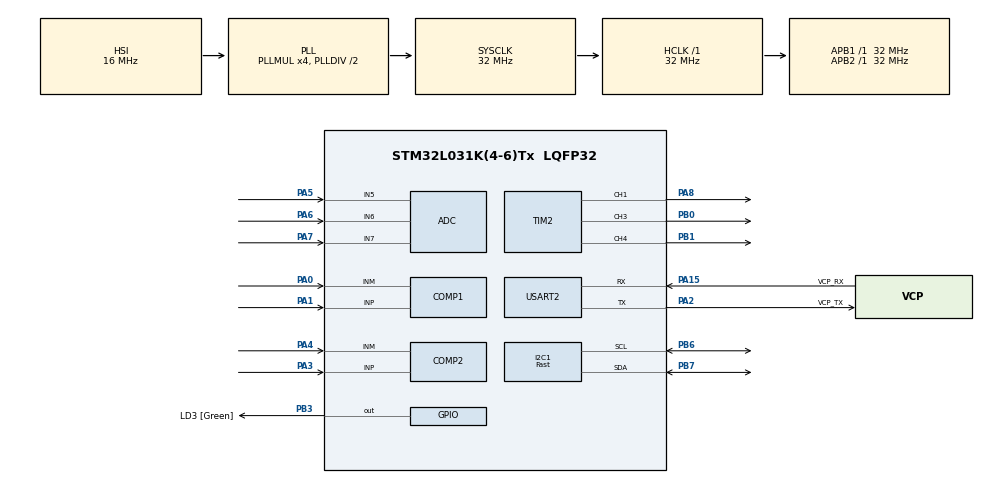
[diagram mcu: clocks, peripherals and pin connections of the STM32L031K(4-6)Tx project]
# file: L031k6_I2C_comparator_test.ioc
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ADC.ExternalTrigConv=ADC_EXTERNALTRIGCONV_T2_TRGO
Dma.ADC.0.Direction=DMA_PERIPH_TO_MEMORY
Dma.ADC.0.Instance=DMA1_Channel1
Dma.ADC.0.MemDataAlignment=DMA_MDATAALIGN_HALFWORD
Dma.ADC.0.MemInc=DMA_MINC_ENABLE
Dma.ADC.0.Mode=DMA_NORMAL
Dma.ADC.0.PeriphDataAlignment=DMA_PDATAALIGN_HALFWORD
Dma.ADC.0.PeriphInc=DMA_PINC_DISABLE
Dma.ADC.0.Priority=DMA_PRIORITY_LOW
Dma.Request0=ADC
I2C1.I2C_Speed_Mode=I2C_Fast
I2C1.Timing=0x00300F38
Mcu.Family=STM32L0
Mcu.Name=STM32L031K(4-6)Tx
Mcu.Package=LQFP32
NVIC.DMA1_Channel1_IRQn=true\:0\:0\:false\:false\:true\:false\:true
PA0-CK_IN.Mode=INM
PA0-CK_IN.Signal=COMP1_INM
PA1.Mode=INP
PA1.Signal=COMP1_INP
PA13.GPIO_Label=TMS
PA13.Mode=Serial_Wire
PA13.Signal=SYS_SWDIO
PA14.GPIO_Label=TCK
PA14.Mode=Serial_Wire
PA14.Signal=SYS_SWCLK
PA15.GPIO_Label=VCP_RX
PA15.Mode=Asynchronous
PA15.Signal=USART2_RX
PA2.GPIO_Label=VCP_TX
PA2.Mode=Asynchronous
PA2.Signal=USART2_TX
PA3.Mode=INP
PA3.Signal=COMP2_INP
PA4.Mode=INM
PA4.Signal=COMP2_INM
PA5.Mode=IN5
PA5.Signal=ADC_IN5
PA6.Mode=IN6
PA6.Signal=ADC_IN6
PA7.Mode=IN7
PA7.Signal=ADC_IN7
PA8.Signal=S_TIM2_CH1
PB0.Signal=S_TIM2_CH3
PB1.Signal=S_TIM2_CH4
PB3.GPIO_Label=LD3 [Green]
PB3.Signal=GPIO_Output
PB6.Mode=I2C
PB6.Signal=I2C1_SCL
PB7.Mode=I2C
PB7.Signal=I2C1_SDA
PC14-OSC32_IN.Mode=LSE-External-Oscillator
PC14-OSC32_IN.Signal=RCC_OSC32_IN
PC15-OSC32_OUT.Mode=LSE-External-Oscillator
PC15-OSC32_OUT.Signal=RCC_OSC32_OUT
ProjectManager.HeapSize=0x200
ProjectManager.StackSize=0x400
ProjectManager.TargetToolchain=SW4STM32
RCC.AHBFreq_Value=32000000
RCC.APB1Freq_Value=32000000
RCC.APB1TimFreq_Value=32000000
RCC.APB2Freq_Value=32000000
RCC.APB2TimFreq_Value=32000000
RCC.HCLKFreq_Value=32000000
RCC.HSE_VALUE=8000000
RCC.HSI16_VALUE=16000000
RCC.HSI48_VALUE=48000000
RCC.HSI_VALUE=16000000
RCC.MSI_VALUE=2097000
RCC.PLLMUL=RCC_PLLMUL_4
RCC.SYSCLKFreq_VALUE=32000000
RCC.SYSCLKSource=RCC_SYSCLKSOURCE_PLLCLK
RCC.VCOOutputFreq_Value=64000000
SH.S_TIM2_CH1.0=TIM2_CH1,PWM Generation1 CH1
SH.S_TIM2_CH3.0=TIM2_CH3,PWM Generation3 CH3
SH.S_TIM2_CH4.0=TIM2_CH4,PWM Generation4 CH4
TIM2.Channel-PWM\ Generation1\ CH1=TIM_CHANNEL_1
TIM2.Channel-PWM\ Generation3\ CH3=TIM_CHANNEL_3
TIM2.Channel-PWM\ Generation4\ CH4=TIM_CHANNEL_4
TIM2.OCFastMode_PWM-PWM\ Generation3\ CH3=TIM_OCFAST_DISABLE
TIM2.OCMode_PWM-PWM\ Generation1\ CH1=TIM_OCMODE_PWM2
TIM2.TIM_MasterOutputTrigger=TIM_TRGO_RESET
USART2.VirtualMode-Asynchronous=VM_ASYNC
board=NUCLEO-L031K6

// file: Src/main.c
/* USER CODE BEGIN Header */
/**
  ******************************************************************************
  * @file           : main.c
  * @brief          : Main program body
  ******************************************************************************
  * @attention
  *
  * <h2><center>&copy; Copyright (c) 2019 STMicroelectronics.
  * All rights reserved.</center></h2>
  *
  * This software component is licensed by ST under BSD 3-Clause license,
  * the "License"; You may not use this file except in compliance with the
  * License. You may obtain a copy of the License at:
  *                        opensource.org/licenses/BSD-3-Clause
  *
  ******************************************************************************
  */
/* USER CODE END Header */

#include "main.h"

/* USER CODE BEGIN Includes */
//#include "mcp3424.h"
/* USER CODE END Includes */

ADC_HandleTypeDef hadc;
DMA_HandleTypeDef hdma_adc;

COMP_HandleTypeDef hcomp1;
COMP_HandleTypeDef hcomp2;

I2C_HandleTypeDef hi2c1;

TIM_HandleTypeDef htim2;

UART_HandleTypeDef huart2;

void SystemClock_Config(void);
static void MX_GPIO_Init(void);
static void MX_DMA_Init(void);
static void MX_ADC_Init(void);
static void MX_COMP1_Init(void);
static void MX_COMP2_Init(void);
static void MX_I2C1_Init(void);
static void MX_TIM2_Init(void);
static void MX_USART2_UART_Init(void);

/* USER CODE BEGIN 0 */
uint16_t MC9808add = 0x0018;
uint8_t MCdatasend = 0;
uint8_t MCdatarec[2] = {0};
int errorState;
int temp;
float ftemp;

/* USER CODE END 0 */

int main(void)
{

  /* MCU Configuration--------------------------------------------------------*/

  /* Reset of all peripherals, Initializes the Flash interface and the Systick. */
  HAL_Init();

  /* Configure the system clock */
  SystemClock_Config();

  /* Initialize all configured peripherals */
  MX_GPIO_Init();
  MX_DMA_Init();
  MX_ADC_Init();
  MX_COMP1_Init();
  MX_COMP2_Init();
  MX_I2C1_Init();
  MX_TIM2_Init();
  MX_USART2_UART_Init();

  /* Infinite loop */
  /* USER CODE BEGIN WHILE */
  while (1)
  {
	  HAL_UART_Transmit(&huart2,"Hello World\r",12, 10);

	  	  //////////////////Read the MCP9808 tempterature
	  	  if(HAL_I2C_IsDeviceReady(&hi2c1,(MC9808add<<1),1,10)==HAL_OK){
	  	                  HAL_UART_Transmit(&huart2,"MC9808 Ready\r",13, 10);
	  	  }

	  	  char lol[32];
	  	  MCdatasend = 0b00000101;

	  	  HAL_I2C_Mem_Read(&hi2c1,(MC9808add<<1),MCdatasend,1,MCdatarec,2,10);

	  	  temp = ((MCdatarec[1]|(MCdatarec[0]<<8)));
	  	  temp &= 0b0000011111111111;
	  	  ftemp=(float)temp;
	  	  ftemp = ftemp/16;
	  	  temp = temp/16;
	  	  sprintf(lol, "Temp is: %f \r", ftemp);
	  	  HAL_UART_Transmit(&huart2, (uint8_t*)lol, strlen(lol),5);
	  	   	   	  //////////////////Read the MCP3424 voltage
MCP3424(&hi2c1,&huart2);

	  	  HAL_Delay(500);
    /* USER CODE END WHILE */

  }
}

void SystemClock_Config(void)
{
  RCC_OscInitTypeDef RCC_OscInitStruct = {0};
  RCC_ClkInitTypeDef RCC_ClkInitStruct = {0};
  RCC_PeriphCLKInitTypeDef PeriphClkInit = {0};

  /** Configure the main internal regulator output voltage
  */
  __HAL_PWR_VOLTAGESCALING_CONFIG(PWR_REGULATOR_VOLTAGE_SCALE1);
  /** Initializes the CPU, AHB and APB busses clocks
  */
  RCC_OscInitStruct.OscillatorType = RCC_OSCILLATORTYPE_HSI;
  RCC_OscInitStruct.HSIState = RCC_HSI_ON;
  RCC_OscInitStruct.HSICalibrationValue = RCC_HSICALIBRATION_DEFAULT;
  RCC_OscInitStruct.PLL.PLLState = RCC_PLL_ON;
  RCC_OscInitStruct.PLL.PLLSource = RCC_PLLSOURCE_HSI;
  RCC_OscInitStruct.PLL.PLLMUL = RCC_PLLMUL_4;
  RCC_OscInitStruct.PLL.PLLDIV = RCC_PLLDIV_2;
  if (HAL_RCC_OscConfig(&RCC_OscInitStruct) != HAL_OK)
  {
    Error_Handler();
  }
  /** Initializes the CPU, AHB and APB busses clocks
  */
  RCC_ClkInitStruct.ClockType = RCC_CLOCKTYPE_HCLK|RCC_CLOCKTYPE_SYSCLK
                              |RCC_CLOCKTYPE_PCLK1|RCC_CLOCKTYPE_PCLK2;
  RCC_ClkInitStruct.SYSCLKSource = RCC_SYSCLKSOURCE_PLLCLK;
  RCC_ClkInitStruct.AHBCLKDivider = RCC_SYSCLK_DIV1;
  RCC_ClkInitStruct.APB1CLKDivider = RCC_HCLK_DIV1;
  RCC_ClkInitStruct.APB2CLKDivider = RCC_HCLK_DIV1;

  if (HAL_RCC_ClockConfig(&RCC_ClkInitStruct, FLASH_LATENCY_1) != HAL_OK)
  {
    Error_Handler();
  }
  PeriphClkInit.PeriphClockSelection = RCC_PERIPHCLK_USART2|RCC_PERIPHCLK_I2C1;
  PeriphClkInit.Usart2ClockSelection = RCC_USART2CLKSOURCE_PCLK1;
  PeriphClkInit.I2c1ClockSelection = RCC_I2C1CLKSOURCE_PCLK1;
  if (HAL_RCCEx_PeriphCLKConfig(&PeriphClkInit) != HAL_OK)
  {
    Error_Handler();
  }
}

static void MX_ADC_Init(void)
{

  ADC_ChannelConfTypeDef sConfig = {0};

  /** Configure the global features of the ADC (Clock, Resolution, Data Alignment and number of conversion)
  */
  hadc.Instance = ADC1;
  hadc.Init.OversamplingMode = DISABLE;
  hadc.Init.ClockPrescaler = ADC_CLOCK_SYNC_PCLK_DIV2;
  hadc.Init.Resolution = ADC_RESOLUTION_12B;
  hadc.Init.SamplingTime = ADC_SAMPLETIME_1CYCLE_5;
  hadc.Init.ScanConvMode = ADC_SCAN_DIRECTION_FORWARD;
  hadc.Init.DataAlign = ADC_DATAALIGN_RIGHT;
  hadc.Init.ContinuousConvMode = DISABLE;
  hadc.Init.DiscontinuousConvMode = DISABLE;
  hadc.Init.ExternalTrigConvEdge = ADC_EXTERNALTRIGCONVEDGE_RISING;
  hadc.Init.ExternalTrigConv = ADC_EXTERNALTRIGCONV_T2_TRGO;
  hadc.Init.DMAContinuousRequests = DISABLE;
  hadc.Init.EOCSelection = ADC_EOC_SINGLE_CONV;
  hadc.Init.Overrun = ADC_OVR_DATA_PRESERVED;
  hadc.Init.LowPowerAutoWait = DISABLE;
  hadc.Init.LowPowerFrequencyMode = DISABLE;
  hadc.Init.LowPowerAutoPowerOff = DISABLE;
  if (HAL_ADC_Init(&hadc) != HAL_OK)
  {
    Error_Handler();
  }
  /** Configure for the selected ADC regular channel to be converted.
  */
  sConfig.Channel = ADC_CHANNEL_5;
  sConfig.Rank = ADC_RANK_CHANNEL_NUMBER;
  if (HAL_ADC_ConfigChannel(&hadc, &sConfig) != HAL_OK)
  {
    Error_Handler();
  }
  /** Configure for the selected ADC regular channel to be converted.
  */
  sConfig.Channel = ADC_CHANNEL_6;
  if (HAL_ADC_ConfigChannel(&hadc, &sConfig) != HAL_OK)
  {
    Error_Handler();
  }
  /** Configure for the selected ADC regular channel to be converted.
  */
  sConfig.Channel = ADC_CHANNEL_7;
  if (HAL_ADC_ConfigChannel(&hadc, &sConfig) != HAL_OK)
  {
    Error_Handler();
  }

}

static void MX_COMP1_Init(void)
{

  hcomp1.Instance = COMP1;
  hcomp1.Init.InvertingInput = COMP_INPUT_MINUS_IO1;
  hcomp1.Init.NonInvertingInput = COMP_INPUT_PLUS_IO1;
  hcomp1.Init.LPTIMConnection = COMP_LPTIMCONNECTION_DISABLED;
  hcomp1.Init.OutputPol = COMP_OUTPUTPOL_NONINVERTED;
  hcomp1.Init.Mode = COMP_POWERMODE_ULTRALOWPOWER;
  hcomp1.Init.WindowMode = COMP_WINDOWMODE_DISABLE;
  hcomp1.Init.TriggerMode = COMP_TRIGGERMODE_NONE;
  if (HAL_COMP_Init(&hcomp1) != HAL_OK)
  {
    Error_Handler();
  }

}

static void MX_COMP2_Init(void)
{

  hcomp2.Instance = COMP2;
  hcomp2.Init.InvertingInput = COMP_INPUT_MINUS_DAC1_CH1;
  hcomp2.Init.NonInvertingInput = COMP_INPUT_PLUS_IO1;
  hcomp2.Init.LPTIMConnection = COMP_LPTIMCONNECTION_DISABLED;
  hcomp2.Init.OutputPol = COMP_OUTPUTPOL_NONINVERTED;
  hcomp2.Init.Mode = COMP_POWERMODE_MEDIUMSPEED;
  hcomp2.Init.WindowMode = COMP_WINDOWMODE_DISABLE;
  hcomp2.Init.TriggerMode = COMP_TRIGGERMODE_NONE;
  if (HAL_COMP_Init(&hcomp2) != HAL_OK)
  {
    Error_Handler();
  }

}

static void MX_I2C1_Init(void)
{

  hi2c1.Instance = I2C1;
  hi2c1.Init.Timing = 0x00300F38;
  hi2c1.Init.OwnAddress1 = 0;
  hi2c1.Init.AddressingMode = I2C_ADDRESSINGMODE_7BIT;
  hi2c1.Init.DualAddressMode = I2C_DUALADDRESS_DISABLE;
  hi2c1.Init.OwnAddress2 = 0;
  hi2c1.Init.OwnAddress2Masks = I2C_OA2_NOMASK;
  hi2c1.Init.GeneralCallMode = I2C_GENERALCALL_DISABLE;
  hi2c1.Init.NoStretchMode = I2C_NOSTRETCH_DISABLE;
  if (HAL_I2C_Init(&hi2c1) != HAL_OK)
  {
    Error_Handler();
  }
  /** Configure Analogue filter
  */
  if (HAL_I2CEx_ConfigAnalogFilter(&hi2c1, I2C_ANALOGFILTER_ENABLE) != HAL_OK)
  {
    Error_Handler();
  }
  /** Configure Digital filter
  */
  if (HAL_I2CEx_ConfigDigitalFilter(&hi2c1, 0) != HAL_OK)
  {
    Error_Handler();
  }

}

static void MX_TIM2_Init(void)
{

  TIM_MasterConfigTypeDef sMasterConfig = {0};
  TIM_OC_InitTypeDef sConfigOC = {0};

  htim2.Instance = TIM2;
  htim2.Init.Prescaler = 0;
  htim2.Init.CounterMode = TIM_COUNTERMODE_UP;
  htim2.Init.Period = 0;
  htim2.Init.ClockDivision = TIM_CLOCKDIVISION_DIV1;
  htim2.Init.AutoReloadPreload = TIM_AUTORELOAD_PRELOAD_DISABLE;
  if (HAL_TIM_PWM_Init(&htim2) != HAL_OK)
  {
    Error_Handler();
  }
  sMasterConfig.MasterOutputTrigger = TIM_TRGO_RESET;
  sMasterConfig.MasterSlaveMode = TIM_MASTERSLAVEMODE_DISABLE;
  if (HAL_TIMEx_MasterConfigSynchronization(&htim2, &sMasterConfig) != HAL_OK)
  {
    Error_Handler();
  }
  sConfigOC.OCMode = TIM_OCMODE_PWM2;
  sConfigOC.Pulse = 0;
  sConfigOC.OCPolarity = TIM_OCPOLARITY_HIGH;
  sConfigOC.OCFastMode = TIM_OCFAST_DISABLE;
  if (HAL_TIM_PWM_ConfigChannel(&htim2, &sConfigOC, TIM_CHANNEL_1) != HAL_OK)
  {
    Error_Handler();
  }
  sConfigOC.OCMode = TIM_OCMODE_PWM1;
  if (HAL_TIM_PWM_ConfigChannel(&htim2, &sConfigOC, TIM_CHANNEL_3) != HAL_OK)
  {
    Error_Handler();
  }
  if (HAL_TIM_PWM_ConfigChannel(&htim2, &sConfigOC, TIM_CHANNEL_4) != HAL_OK)
  {
    Error_Handler();
  }
  HAL_TIM_MspPostInit(&htim2);

}

static void MX_USART2_UART_Init(void)
{

  huart2.Instance = USART2;
  huart2.Init.BaudRate = 115200;
  huart2.Init.WordLength = UART_WORDLENGTH_8B;
  huart2.Init.StopBits = UART_STOPBITS_1;
  huart2.Init.Parity = UART_PARITY_NONE;
  huart2.Init.Mode = UART_MODE_TX_RX;
  huart2.Init.HwFlowCtl = UART_HWCONTROL_NONE;
  huart2.Init.OverSampling = UART_OVERSAMPLING_16;
  huart2.Init.OneBitSampling = UART_ONE_BIT_SAMPLE_DISABLE;
  huart2.AdvancedInit.AdvFeatureInit = UART_ADVFEATURE_NO_INIT;
  if (HAL_UART_Init(&huart2) != HAL_OK)
  {
    Error_Handler();
  }

}

static void MX_DMA_Init(void)
{
  /* DMA controller clock enable */
  __HAL_RCC_DMA1_CLK_ENABLE();

  /* DMA interrupt init */
  /* DMA1_Channel1_IRQn interrupt configuration */
  HAL_NVIC_SetPriority(DMA1_Channel1_IRQn, 0, 0);
  HAL_NVIC_EnableIRQ(DMA1_Channel1_IRQn);

}

static void MX_GPIO_Init(void)
{
  GPIO_InitTypeDef GPIO_InitStruct = {0};

  /* GPIO Ports Clock Enable */
  __HAL_RCC_GPIOC_CLK_ENABLE();
  __HAL_RCC_GPIOA_CLK_ENABLE();
  __HAL_RCC_GPIOB_CLK_ENABLE();

  /*Configure GPIO pin Output Level */
  HAL_GPIO_WritePin(LD3_GPIO_Port, LD3_Pin, GPIO_PIN_RESET);

  /*Configure GPIO pin : LD3_Pin */
  GPIO_InitStruct.Pin = LD3_Pin;
  GPIO_InitStruct.Mode = GPIO_MODE_OUTPUT_PP;
  GPIO_InitStruct.Pull = GPIO_NOPULL;
  GPIO_InitStruct.Speed = GPIO_SPEED_FREQ_LOW;
  HAL_GPIO_Init(LD3_GPIO_Port, &GPIO_InitStruct);

}

void Error_Handler(void)
{
}

/************************ (C) COPYRIGHT STMicroelectronics *****END OF FILE****/
